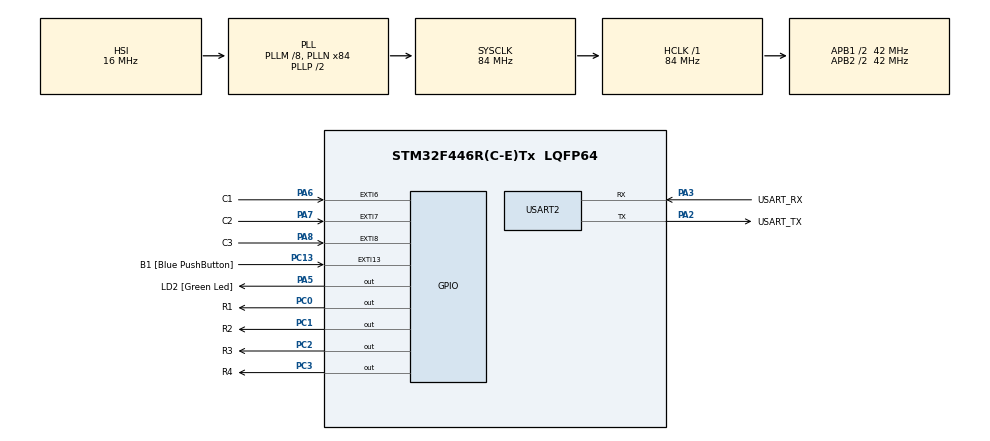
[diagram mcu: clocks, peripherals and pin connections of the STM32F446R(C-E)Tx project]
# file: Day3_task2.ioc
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Mcu.Family=STM32F4
Mcu.Name=STM32F446R(C-E)Tx
Mcu.Package=LQFP64
NVIC.EXTI9_5_IRQn=true\:0\:0\:false\:false\:true\:true\:true\:true
NVIC.PriorityGroup=NVIC_PRIORITYGROUP_0
PA13.GPIO_Label=TMS
PA13.Mode=Serial_Wire
PA13.Signal=SYS_JTMS-SWDIO
PA14.GPIO_Label=TCK
PA14.Mode=Serial_Wire
PA14.Signal=SYS_JTCK-SWCLK
PA2.GPIO_Label=USART_TX
PA2.Mode=Asynchronous
PA2.Signal=USART2_TX
PA3.GPIO_Label=USART_RX
PA3.Mode=Asynchronous
PA3.Signal=USART2_RX
PA5.GPIO_Label=LD2 [Green Led]
PA5.Signal=GPIO_Output
PA6.GPIO_Label=C1
PA6.GPIO_ModeDefaultEXTI=GPIO_MODE_IT_FALLING
PA6.GPIO_PuPd=GPIO_PULLUP
PA6.Signal=GPXTI6
PA7.GPIO_Label=C2
PA7.GPIO_ModeDefaultEXTI=GPIO_MODE_IT_FALLING
PA7.GPIO_PuPd=GPIO_PULLUP
PA7.Signal=GPXTI7
PA8.GPIO_Label=C3
PA8.GPIO_ModeDefaultEXTI=GPIO_MODE_IT_FALLING
PA8.GPIO_PuPd=GPIO_PULLUP
PA8.Signal=GPXTI8
PB3.GPIO_Label=SWO
PB3.Signal=SYS_JTDO-SWO
PC0.GPIO_Label=R1
PC0.Signal=GPIO_Output
PC1.GPIO_Label=R2
PC1.Signal=GPIO_Output
PC13.GPIO_Label=B1 [Blue PushButton]
PC13.GPIO_ModeDefaultEXTI=GPIO_MODE_IT_FALLING
PC13.GPIO_PuPd=GPIO_NOPULL
PC13.Signal=GPXTI13
PC14-OSC32_IN.Mode=LSE-External-Oscillator
PC14-OSC32_IN.Signal=RCC_OSC32_IN
PC15-OSC32_OUT.Mode=LSE-External-Oscillator
PC15-OSC32_OUT.Signal=RCC_OSC32_OUT
PC2.GPIO_Label=R3
PC2.Signal=GPIO_Output
PC3.GPIO_Label=R4
PC3.Signal=GPIO_Output
PH0-OSC_IN.Mode=HSE-External-Oscillator
PH0-OSC_IN.Signal=RCC_OSC_IN
PH1-OSC_OUT.Mode=HSE-External-Oscillator
PH1-OSC_OUT.Signal=RCC_OSC_OUT
ProjectManager.HeapSize=0x200
ProjectManager.StackSize=0x400
ProjectManager.TargetToolchain=STM32CubeIDE
RCC.48MHZClocksFreq_Value=84000000
RCC.AHBFreq_Value=84000000
RCC.APB1CLKDivider=RCC_HCLK_DIV2
RCC.APB1Freq_Value=42000000
RCC.APB1TimFreq_Value=84000000
RCC.APB2CLKDivider=RCC_HCLK_DIV2
RCC.APB2Freq_Value=42000000
RCC.APB2TimFreq_Value=84000000
RCC.CortexFreq_Value=84000000
RCC.FLatency-AdvancedSettings=FLASH_LATENCY_2
RCC.HCLKFreq_Value=84000000
RCC.HSE_VALUE=8000000
RCC.HSI_VALUE=16000000
RCC.PLLM=8
RCC.PLLN=84
RCC.SYSCLKFreq_VALUE=84000000
RCC.SYSCLKSource=RCC_SYSCLKSOURCE_PLLCLK
RCC.USBFreq_Value=84000000
RCC.VCOOutputFreq_Value=168000000
USART2.VirtualMode=VM_ASYNC
board=NUCLEO-F446RE

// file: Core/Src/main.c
/* USER CODE BEGIN Header */
/**
  ******************************************************************************
  * @file           : main.c
  * @brief          : Main program body
  ******************************************************************************
  * @attention
  *
  * Copyright (c) 2024 STMicroelectronics.
  * All rights reserved.
  *
  * This software is licensed under terms that can be found in the LICENSE file
  * in the root directory of this software component.
  * If no LICENSE file comes with this software, it is provided AS-IS.
  *
  ******************************************************************************
  */
/* USER CODE END Header */
#include "main.h"
#include "stdio.h"

UART_HandleTypeDef huart2;

/* USER CODE BEGIN PV */
char keypad[4][3] = {
    {'1', '2', '3'},
    {'4', '5', '6'},
    {'7', '8', '9'},
    {'*', '0', '#'}
};

char pressed_key = 0;
/* USER CODE END PV */

void SystemClock_Config(void);
static void MX_GPIO_Init(void);
static void MX_USART2_UART_Init(void);

/* USER CODE BEGIN 0 */
int _write(int file, char *ptr, int len)
{
  (void)file;
  int DataIdx;

  for (DataIdx = 0; DataIdx < len; DataIdx++)
  {
    ITM_SendChar(*ptr++);
  }
  return len;
}
/* USER CODE END 0 */

int main(void)
{

  /* MCU Configuration--------------------------------------------------------*/

  /* Reset of all peripherals, Initializes the Flash interface and the Systick. */
  HAL_Init();

  /* Configure the system clock */
  SystemClock_Config();

  /* Initialize all configured peripherals */
  MX_GPIO_Init();
  MX_USART2_UART_Init();

  /* Infinite loop */
  while (1)
  {

  }
}

void SystemClock_Config(void)
{
  RCC_OscInitTypeDef RCC_OscInitStruct = {0};
  RCC_ClkInitTypeDef RCC_ClkInitStruct = {0};

  /** Configure the main internal regulator output voltage
  */
  __HAL_RCC_PWR_CLK_ENABLE();
  __HAL_PWR_VOLTAGESCALING_CONFIG(PWR_REGULATOR_VOLTAGE_SCALE3);

  /** Initializes the RCC Oscillators according to the specified parameters
  * in the RCC_OscInitTypeDef structure.
  */
  RCC_OscInitStruct.OscillatorType = RCC_OSCILLATORTYPE_HSI;
  RCC_OscInitStruct.HSIState = RCC_HSI_ON;
  RCC_OscInitStruct.HSICalibrationValue = RCC_HSICALIBRATION_DEFAULT;
  RCC_OscInitStruct.PLL.PLLState = RCC_PLL_ON;
  RCC_OscInitStruct.PLL.PLLSource = RCC_PLLSOURCE_HSI;
  RCC_OscInitStruct.PLL.PLLM = 8;
  RCC_OscInitStruct.PLL.PLLN = 84;
  RCC_OscInitStruct.PLL.PLLP = RCC_PLLP_DIV2;
  RCC_OscInitStruct.PLL.PLLQ = 2;
  RCC_OscInitStruct.PLL.PLLR = 2;
  if (HAL_RCC_OscConfig(&RCC_OscInitStruct) != HAL_OK)
  {
    Error_Handler();
  }

  /** Initializes the CPU, AHB and APB buses clocks
  */
  RCC_ClkInitStruct.ClockType = RCC_CLOCKTYPE_HCLK|RCC_CLOCKTYPE_SYSCLK
                              |RCC_CLOCKTYPE_PCLK1|RCC_CLOCKTYPE_PCLK2;
  RCC_ClkInitStruct.SYSCLKSource = RCC_SYSCLKSOURCE_PLLCLK;
  RCC_ClkInitStruct.AHBCLKDivider = RCC_SYSCLK_DIV1;
  RCC_ClkInitStruct.APB1CLKDivider = RCC_HCLK_DIV2;
  RCC_ClkInitStruct.APB2CLKDivider = RCC_HCLK_DIV2;

  if (HAL_RCC_ClockConfig(&RCC_ClkInitStruct, FLASH_LATENCY_2) != HAL_OK)
  {
    Error_Handler();
  }
}

static void MX_USART2_UART_Init(void)
{

  huart2.Instance = USART2;
  huart2.Init.BaudRate = 115200;
  huart2.Init.WordLength = UART_WORDLENGTH_8B;
  huart2.Init.StopBits = UART_STOPBITS_1;
  huart2.Init.Parity = UART_PARITY_NONE;
  huart2.Init.Mode = UART_MODE_TX_RX;
  huart2.Init.HwFlowCtl = UART_HWCONTROL_NONE;
  huart2.Init.OverSampling = UART_OVERSAMPLING_16;
  if (HAL_UART_Init(&huart2) != HAL_OK)
  {
    Error_Handler();
  }

}

static void MX_GPIO_Init(void)
{
  GPIO_InitTypeDef GPIO_InitStruct = {0};

  /* GPIO Ports Clock Enable */
  __HAL_RCC_GPIOC_CLK_ENABLE();
  __HAL_RCC_GPIOH_CLK_ENABLE();
  __HAL_RCC_GPIOA_CLK_ENABLE();
  __HAL_RCC_GPIOB_CLK_ENABLE();

  /*Configure GPIO pin Output Level */
  HAL_GPIO_WritePin(GPIOC, R1_Pin|R2_Pin|R3_Pin|R4_Pin, GPIO_PIN_RESET);

  /*Configure GPIO pin Output Level */
  HAL_GPIO_WritePin(LD2_GPIO_Port, LD2_Pin, GPIO_PIN_RESET);

  /*Configure GPIO pin : B1_Pin */
  GPIO_InitStruct.Pin = B1_Pin;
  GPIO_InitStruct.Mode = GPIO_MODE_IT_FALLING;
  GPIO_InitStruct.Pull = GPIO_NOPULL;
  HAL_GPIO_Init(B1_GPIO_Port, &GPIO_InitStruct);

  /*Configure GPIO pins : R1_Pin R2_Pin R3_Pin R4_Pin */
  GPIO_InitStruct.Pin = R1_Pin|R2_Pin|R3_Pin|R4_Pin;
  GPIO_InitStruct.Mode = GPIO_MODE_OUTPUT_PP;
  GPIO_InitStruct.Pull = GPIO_NOPULL;
  GPIO_InitStruct.Speed = GPIO_SPEED_FREQ_LOW;
  HAL_GPIO_Init(GPIOC, &GPIO_InitStruct);

  /*Configure GPIO pin : LD2_Pin */
  GPIO_InitStruct.Pin = LD2_Pin;
  GPIO_InitStruct.Mode = GPIO_MODE_OUTPUT_PP;
  GPIO_InitStruct.Pull = GPIO_NOPULL;
  GPIO_InitStruct.Speed = GPIO_SPEED_FREQ_LOW;
  HAL_GPIO_Init(LD2_GPIO_Port, &GPIO_InitStruct);

  /*Configure GPIO pins : C1_Pin C2_Pin C3_Pin */
  GPIO_InitStruct.Pin = C1_Pin|C2_Pin|C3_Pin;
  GPIO_InitStruct.Mode = GPIO_MODE_IT_FALLING;
  GPIO_InitStruct.Pull = GPIO_PULLUP;
  HAL_GPIO_Init(GPIOA, &GPIO_InitStruct);

  /* EXTI interrupt init*/
  HAL_NVIC_SetPriority(EXTI9_5_IRQn, 0, 0);
  HAL_NVIC_EnableIRQ(EXTI9_5_IRQn);

}

/* USER CODE BEGIN 4 */

void scan_keypad(void)
{

    HAL_GPIO_WritePin(GPIOC, R1_Pin | R2_Pin | R3_Pin | R4_Pin, GPIO_PIN_SET);

    for (int row = 0; row < 4; row++)
    {
        HAL_GPIO_WritePin(GPIOC, (R1_Pin << row), GPIO_PIN_RESET);

        for (int col = 0; col < 3; col++)
        {
            if (HAL_GPIO_ReadPin(GPIOA, (C1_Pin << col)) == GPIO_PIN_RESET)
            {
                pressed_key = keypad[row][col];
                printf("Pressed Key: %c\n", pressed_key);
                printf("Scanning Row: %d\n", row);
                printf("Checking Column: %d, Pin State: %d\n", col, HAL_GPIO_ReadPin(GPIOA, (C1_Pin << col)));

                HAL_GPIO_WritePin(GPIOC, (R1_Pin << row), GPIO_PIN_SET);

                return;
            }
        }
        HAL_GPIO_WritePin(GPIOC, (R1_Pin << row), GPIO_PIN_SET);

    }
}

void HAL_GPIO_EXTI_Callback(uint16_t GPIO_Pin)
{
    if (GPIO_Pin == C1_Pin || GPIO_Pin == C2_Pin || GPIO_Pin == C3_Pin)
    {
        scan_keypad();
    }
}
/* USER CODE END 4 */

void Error_Handler(void)
{
  __disable_irq();
  while (1)
  {
  }
}
